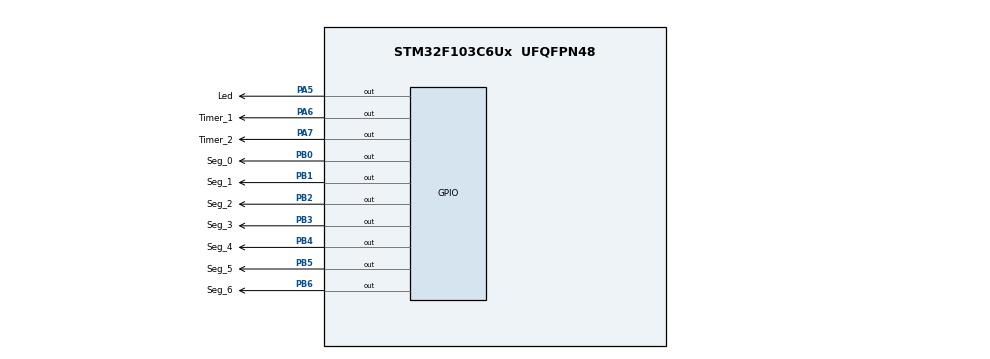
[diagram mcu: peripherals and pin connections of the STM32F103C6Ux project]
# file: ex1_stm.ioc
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Mcu.Family=STM32F1
Mcu.Name=STM32F103C6Ux
Mcu.Package=UFQFPN48
NVIC.PriorityGroup=NVIC_PRIORITYGROUP_4
NVIC.TIM2_IRQn=true\:0\:0\:false\:false\:true\:true\:true
PA5.GPIO_Label=Led
PA5.Signal=GPIO_Output
PA6.GPIO_Label=Timer_1
PA6.Signal=GPIO_Output
PA7.GPIO_Label=Timer_2
PA7.Signal=GPIO_Output
PB0.GPIO_Label=Seg_0
PB0.Signal=GPIO_Output
PB1.GPIO_Label=Seg_1
PB1.Signal=GPIO_Output
PB2.GPIO_Label=Seg_2
PB2.Signal=GPIO_Output
PB3.GPIO_Label=Seg_3
PB3.Signal=GPIO_Output
PB4.GPIO_Label=Seg_4
PB4.Signal=GPIO_Output
PB5.GPIO_Label=Seg_5
PB5.Signal=GPIO_Output
PB6.GPIO_Label=Seg_6
PB6.Signal=GPIO_Output
ProjectManager.HeapSize=0x200
ProjectManager.StackSize=0x400
ProjectManager.TargetToolchain=STM32CubeIDE
RCC.APB1Freq_Value=8000000
RCC.APB2Freq_Value=8000000
TIM2.Period=9
TIM2.Prescaler=7999
VP_SYS_VS_ND.Mode=No_Debug
VP_TIM2_VS_ClockSourceINT.Mode=Internal
board=custom

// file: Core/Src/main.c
/* USER CODE BEGIN Header */
/**
  ******************************************************************************
  * @file           : main.c
  * @brief          : Main program body
  ******************************************************************************
  * @attention
  *
  * <h2><center>&copy; Copyright (c) 2023 STMicroelectronics.
  * All rights reserved.</center></h2>
  *
  * This software component is licensed by ST under BSD 3-Clause license,
  * the "License"; You may not use this file except in compliance with the
  * License. You may obtain a copy of the License at:
  *                        opensource.org/licenses/BSD-3-Clause
  *
  ******************************************************************************
  */
/* USER CODE END Header */
#include "main.h"

TIM_HandleTypeDef htim2;

void SystemClock_Config(void);
static void MX_GPIO_Init(void);
static void MX_TIM2_Init(void);

int main(void)
{

  /* MCU Configuration--------------------------------------------------------*/

  /* Reset of all peripherals, Initializes the Flash interface and the Systick. */
  HAL_Init();

  /* Configure the system clock */
  SystemClock_Config();

  /* Initialize all configured peripherals */
  MX_GPIO_Init();
  MX_TIM2_Init();
  /* USER CODE BEGIN 2 */
  HAL_TIM_Base_Start_IT (& htim2 ) ;
  /* USER CODE END 2 */

  /* Infinite loop */
  while (1)
  {

  }
}

void SystemClock_Config(void)
{
  RCC_OscInitTypeDef RCC_OscInitStruct = {0};
  RCC_ClkInitTypeDef RCC_ClkInitStruct = {0};

  /** Initializes the RCC Oscillators according to the specified parameters
  * in the RCC_OscInitTypeDef structure.
  */
  RCC_OscInitStruct.OscillatorType = RCC_OSCILLATORTYPE_HSI;
  RCC_OscInitStruct.HSIState = RCC_HSI_ON;
  RCC_OscInitStruct.HSICalibrationValue = RCC_HSICALIBRATION_DEFAULT;
  RCC_OscInitStruct.PLL.PLLState = RCC_PLL_NONE;
  if (HAL_RCC_OscConfig(&RCC_OscInitStruct) != HAL_OK)
  {
    Error_Handler();
  }
  /** Initializes the CPU, AHB and APB buses clocks
  */
  RCC_ClkInitStruct.ClockType = RCC_CLOCKTYPE_HCLK|RCC_CLOCKTYPE_SYSCLK
                              |RCC_CLOCKTYPE_PCLK1|RCC_CLOCKTYPE_PCLK2;
  RCC_ClkInitStruct.SYSCLKSource = RCC_SYSCLKSOURCE_HSI;
  RCC_ClkInitStruct.AHBCLKDivider = RCC_SYSCLK_DIV1;
  RCC_ClkInitStruct.APB1CLKDivider = RCC_HCLK_DIV1;
  RCC_ClkInitStruct.APB2CLKDivider = RCC_HCLK_DIV1;

  if (HAL_RCC_ClockConfig(&RCC_ClkInitStruct, FLASH_LATENCY_0) != HAL_OK)
  {
    Error_Handler();
  }
}

static void MX_TIM2_Init(void)
{

  TIM_ClockConfigTypeDef sClockSourceConfig = {0};
  TIM_MasterConfigTypeDef sMasterConfig = {0};

  htim2.Instance = TIM2;
  htim2.Init.Prescaler = 7999;
  htim2.Init.CounterMode = TIM_COUNTERMODE_UP;
  htim2.Init.Period = 9;
  htim2.Init.ClockDivision = TIM_CLOCKDIVISION_DIV1;
  htim2.Init.AutoReloadPreload = TIM_AUTORELOAD_PRELOAD_DISABLE;
  if (HAL_TIM_Base_Init(&htim2) != HAL_OK)
  {
    Error_Handler();
  }
  sClockSourceConfig.ClockSource = TIM_CLOCKSOURCE_INTERNAL;
  if (HAL_TIM_ConfigClockSource(&htim2, &sClockSourceConfig) != HAL_OK)
  {
    Error_Handler();
  }
  sMasterConfig.MasterOutputTrigger = TIM_TRGO_RESET;
  sMasterConfig.MasterSlaveMode = TIM_MASTERSLAVEMODE_DISABLE;
  if (HAL_TIMEx_MasterConfigSynchronization(&htim2, &sMasterConfig) != HAL_OK)
  {
    Error_Handler();
  }

}

static void MX_GPIO_Init(void)
{
  GPIO_InitTypeDef GPIO_InitStruct = {0};

  /* GPIO Ports Clock Enable */
  __HAL_RCC_GPIOA_CLK_ENABLE();
  __HAL_RCC_GPIOB_CLK_ENABLE();

  /*Configure GPIO pin Output Level */
  HAL_GPIO_WritePin(GPIOA, Led_Pin|Timer_1_Pin|Timer_2_Pin, GPIO_PIN_RESET);

  /*Configure GPIO pin Output Level */
  HAL_GPIO_WritePin(GPIOB, Seg_0_Pin|Seg_1_Pin|Seg_2_Pin|Seg_3_Pin
                          |Seg_4_Pin|Seg_5_Pin|Seg_6_Pin, GPIO_PIN_RESET);

  /*Configure GPIO pins : Led_Pin Timer_1_Pin Timer_2_Pin */
  GPIO_InitStruct.Pin = Led_Pin|Timer_1_Pin|Timer_2_Pin;
  GPIO_InitStruct.Mode = GPIO_MODE_OUTPUT_PP;
  GPIO_InitStruct.Pull = GPIO_NOPULL;
  GPIO_InitStruct.Speed = GPIO_SPEED_FREQ_LOW;
  HAL_GPIO_Init(GPIOA, &GPIO_InitStruct);

  /*Configure GPIO pins : Seg_0_Pin Seg_1_Pin Seg_2_Pin Seg_3_Pin
                           Seg_4_Pin Seg_5_Pin Seg_6_Pin */
  GPIO_InitStruct.Pin = Seg_0_Pin|Seg_1_Pin|Seg_2_Pin|Seg_3_Pin
                          |Seg_4_Pin|Seg_5_Pin|Seg_6_Pin;
  GPIO_InitStruct.Mode = GPIO_MODE_OUTPUT_PP;
  GPIO_InitStruct.Pull = GPIO_NOPULL;
  GPIO_InitStruct.Speed = GPIO_SPEED_FREQ_LOW;
  HAL_GPIO_Init(GPIOB, &GPIO_InitStruct);

}

/* USER CODE BEGIN 4 */
void display7SEG(int num ) {

	HAL_GPIO_WritePin ( GPIOB , GPIO_PIN_0|GPIO_PIN_1|GPIO_PIN_2|GPIO_PIN_3|GPIO_PIN_4|GPIO_PIN_5|GPIO_PIN_6 , GPIO_PIN_SET ) ;
	switch (num) {
        case 0:
        	HAL_GPIO_WritePin ( GPIOB , GPIO_PIN_0|GPIO_PIN_1|GPIO_PIN_2|GPIO_PIN_3|GPIO_PIN_4|GPIO_PIN_5 , GPIO_PIN_RESET ) ;
            break;
        case 1:
        	HAL_GPIO_WritePin ( GPIOB , GPIO_PIN_1|GPIO_PIN_2 , GPIO_PIN_RESET ) ;
            break;
        case 2:
        	HAL_GPIO_WritePin ( GPIOB , GPIO_PIN_0|GPIO_PIN_1|GPIO_PIN_3|GPIO_PIN_4|GPIO_PIN_6 , GPIO_PIN_RESET ) ;
            break;
        case 3:
        	HAL_GPIO_WritePin ( GPIOB , GPIO_PIN_0|GPIO_PIN_1|GPIO_PIN_2|GPIO_PIN_3|GPIO_PIN_6 , GPIO_PIN_RESET ) ;
            break;
        case 4:
        	HAL_GPIO_WritePin ( GPIOB , GPIO_PIN_1|GPIO_PIN_2|GPIO_PIN_5|GPIO_PIN_6 , GPIO_PIN_RESET ) ;
            break;
        case 5:
        	HAL_GPIO_WritePin ( GPIOB , GPIO_PIN_0|GPIO_PIN_2|GPIO_PIN_3|GPIO_PIN_5|GPIO_PIN_6 , GPIO_PIN_RESET ) ;
            break;
        case 6:
        	HAL_GPIO_WritePin ( GPIOB , GPIO_PIN_0|GPIO_PIN_2|GPIO_PIN_3|GPIO_PIN_4|GPIO_PIN_5|GPIO_PIN_6 , GPIO_PIN_RESET ) ;
            break;
        case 7:
        	HAL_GPIO_WritePin ( GPIOB , GPIO_PIN_0|GPIO_PIN_1|GPIO_PIN_2, GPIO_PIN_RESET ) ;
            break;
        case 8:
        	HAL_GPIO_WritePin ( GPIOB , GPIO_PIN_0|GPIO_PIN_1|GPIO_PIN_2|GPIO_PIN_3|GPIO_PIN_4|GPIO_PIN_5|GPIO_PIN_6 , GPIO_PIN_RESET ) ;
            break;
        case 9:
        	HAL_GPIO_WritePin ( GPIOB , GPIO_PIN_0|GPIO_PIN_1|GPIO_PIN_2|GPIO_PIN_3|GPIO_PIN_5|GPIO_PIN_6 , GPIO_PIN_RESET ) ;
            break;

    }
}

int counter = 50;
int state = 1;
void HAL_TIM_PeriodElapsedCallback ( TIM_HandleTypeDef * htim )
{
	 if(counter>0) counter --;
	 if ( counter<=0) {
		 counter = 50;
		 HAL_GPIO_TogglePin ( GPIOA , GPIO_PIN_5 ) ;
	     if ( state == 1) {
				HAL_GPIO_WritePin(GPIOA, GPIO_PIN_6, GPIO_PIN_RESET);
				HAL_GPIO_WritePin(GPIOA, GPIO_PIN_7, GPIO_PIN_SET);
				display7SEG(1);
				state = 2;
				return;
	     }
	     if ( state == 2) {
				HAL_GPIO_WritePin(GPIOA, GPIO_PIN_6, GPIO_PIN_SET);
				HAL_GPIO_WritePin(GPIOA, GPIO_PIN_7, GPIO_PIN_RESET);
				display7SEG(2);
				state = 1;
				return;
	     }
    }
}

/* USER CODE END 4 */

void Error_Handler(void)
{
  __disable_irq();
  while (1)
  {
  }
}

/************************ (C) COPYRIGHT STMicroelectronics *****END OF FILE****/
